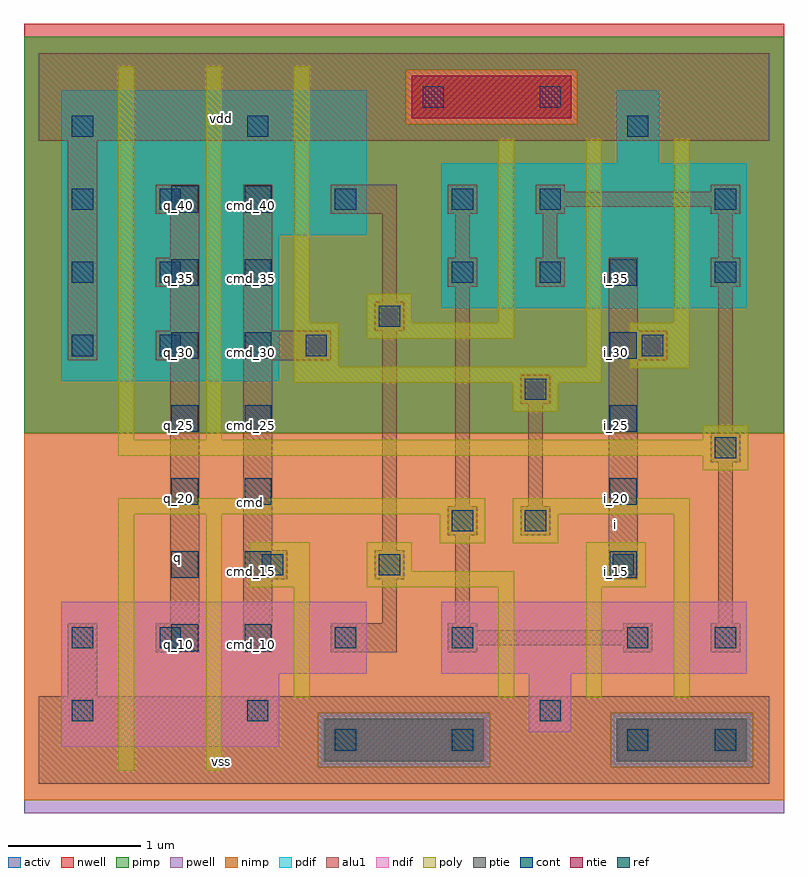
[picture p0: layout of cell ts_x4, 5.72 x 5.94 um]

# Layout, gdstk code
import gdstk
lib = gdstk.Library(unit=1e-6, precision=2.5e-09)
def R(c, l, rs):  # rectangles x0, y0, x1, y1
    for r in rs: c.add(gdstk.rectangle(r[:2], r[2:], *l))
def A(c, l, x, y, w, h, nx, ny, dx, dy):  # array of equal rectangles
    R(c, l, [(x+i*dx, y+j*dy, x+i*dx+w, y+j*dy+h) for i in range(nx) for j in range(ny)])
ndif = (3, 0)
pdif = (4, 0)
ntie = (5, 0)
ptie = (6, 0)
ref = (24, 0)
cont = (25, 0)
pwell = (41, 0)
nwell = (42, 0)
activ = (43, 0)
pimp = (44, 0)
nimp = (45, 0)
poly = (46, 0)
alu1 = (49, 0)

ts_x4 = lib.new_cell('ts_x4')
R(ts_x4, ndif, [(0.17,0.28,1.81,0.83), (0.17,0.28,1.81,0.83), (3.69,0.39,4.01,0.83), (3.69,0.39,4.01,0.83), (0.17,0.83,2.47,1.37), (0.17,0.83,2.47,1.37), (3.03,0.83,5.33,1.37), (3.03,0.83,5.33,1.37)])
R(ts_x4, pdif, [(0.17,3.03,1.81,4.13), (0.17,3.03,1.81,4.13), (3.03,3.58,5.33,4.67), (3.03,3.58,5.33,4.67), (0.17,4.13,2.47,5.22), (0.17,4.13,2.47,5.22), (4.35,4.67,4.67,5.22), (4.35,4.67,4.67,5.22)])
R(ts_x4, ntie, [(2.81,5.01,4.01,5.33), (2.81,5.01,4.01,5.33)])
R(ts_x4, ptie, [(2.15,0.17,3.35,0.49), (2.15,0.17,3.35,0.49), (4.35,0.17,5.33,0.49), (4.35,0.17,5.33,0.49)])
A(ts_x4, ref, 1, 1, 0.2, 0.2, 1, 7, 0, 0.55)
A(ts_x4, ref, 1.55, 1, 0.2, 0.2, 1, 7, 0, 0.55)
A(ts_x4, ref, 4.3, 1.55, 0.2, 0.2, 1, 5, 0, 0.55)
A(ts_x4, cont, 0.25, 3.22, 0.16, 0.16, 1, 4, 0, 0.55)
A(ts_x4, cont, 0.91, 3.22, 0.16, 0.16, 1, 3, 0, 0.55)
R(ts_x4, cont, [(2.23,0.25,2.39,0.41), (3.11,0.25,3.27,0.41), (4.43,0.25,4.59,0.41), (5.09,0.25,5.25,0.41), (0.25,0.47,0.41,0.63), (1.57,0.47,1.73,0.63), (3.77,0.47,3.93,0.63), (0.25,1.02,0.41,1.18), (0.91,1.02,1.07,1.18), (2.23,1.02,2.39,1.18), (3.11,1.02,3.27,1.18), (4.43,1.02,4.59,1.18), (5.09,1.02,5.25,1.18), (1.68,1.57,1.84,1.73), (2.56,1.57,2.72,1.73), (4.32,1.57,4.48,1.73), (3.11,1.9,3.27,2.06), (3.66,1.9,3.82,2.06), (5.09,2.45,5.25,2.61), (3.66,2.89,3.82,3.05), (2.01,3.22,2.17,3.38), (4.54,3.22,4.7,3.38), (2.56,3.44,2.72,3.6), (3.11,3.77,3.27,3.93), (3.77,3.77,3.93,3.93), (5.09,3.77,5.25,3.93), (2.23,4.32,2.39,4.48), (3.11,4.32,3.27,4.48), (3.77,4.32,3.93,4.48), (5.09,4.32,5.25,4.48), (1.57,4.87,1.73,5.03), (4.43,4.87,4.59,5.03), (2.89,5.09,3.05,5.25), (3.77,5.09,3.93,5.25)])
R(ts_x4, pwell, [(-0.11,-0.22,5.61,2.64)])
R(ts_x4, nwell, [(-0.11,2.64,5.61,5.72)])
R(ts_x4, activ, [(2.15,0.17,3.35,0.49), (2.15,0.17,3.35,0.49), (4.35,0.17,5.33,0.49), (4.35,0.17,5.33,0.49), (0.17,0.28,1.81,0.83), (0.17,0.28,1.81,0.83), (3.69,0.39,4.01,0.83), (3.69,0.39,4.01,0.83), (0.17,0.83,2.47,1.37), (0.17,0.83,2.47,1.37), (3.03,0.83,5.33,1.37), (3.03,0.83,5.33,1.37), (0.17,3.03,1.81,4.13), (0.17,3.03,1.81,4.13), (3.03,3.58,5.33,4.67), (3.03,3.58,5.33,4.67), (0.17,4.13,2.47,5.22), (0.17,4.13,2.47,5.22), (4.35,4.67,4.67,5.22), (4.35,4.67,4.67,5.22), (2.81,5.01,4.01,5.33), (2.81,5.01,4.01,5.33)])
R(ts_x4, pimp, [(2.105,0.125,3.395,0.535), (4.305,0.125,5.375,0.535), (-0.11,2.64,5.61,4.965), (-0.11,4.965,2.765,5.375), (4.055,4.965,5.61,5.375), (-0.11,5.375,5.61,5.625)])
R(ts_x4, nimp, [(-0.11,-0.125,5.61,0.125), (-0.11,0.125,2.105,0.535), (3.395,0.125,4.305,0.535), (5.375,0.125,5.61,0.535), (-0.11,0.535,5.61,2.64), (2.765,4.965,4.055,5.375)])
R(ts_x4, poly, [(0.6,0.1,0.72,2.03), (1.26,0.1,1.38,2.03), (1.92,0.65,2.04,1.48), (3.46,0.65,3.58,1.48), (4.12,0.65,4.24,1.48), (4.78,0.65,4.9,2.03), (1.59,1.48,2.04,1.82), (2.47,1.48,3.58,1.6), (4.12,1.48,4.57,1.82), (2.47,1.6,2.81,1.82), (3.02,1.81,3.36,2.03), (3.57,1.81,3.91,2.03), (0.6,2.03,3.36,2.15), (3.57,2.03,4.9,2.15), (5,2.36,5.34,2.47), (0.6,2.47,5.34,2.59), (0.6,2.59,0.72,5.4), (1.26,2.59,1.38,5.4), (5,2.59,5.34,2.7), (3.57,2.8,3.91,3.02), (1.92,3.02,4.24,3.14), (4.45,3.13,4.9,3.47), (1.92,3.14,2.26,3.47), (4.12,3.14,4.24,4.85), (2.47,3.35,3.58,3.47), (1.92,3.47,2.04,5.4), (2.47,3.47,2.81,3.69), (3.46,3.47,3.58,4.85), (4.78,3.47,4.9,4.85)])
A(ts_x4, alu1, 0.88, 3.19, 0.33, 0.22, 1, 3, 0, 0.55)
R(ts_x4, alu1, [(0,0,5.5,0.66), (0.22,0.66,0.44,1.21), (0.88,0.99,1.21,1.21), (1.54,0.99,1.76,1.54), (2.2,0.99,2.695,1.21), (3.08,0.99,3.3,1.045), (4.4,0.99,4.62,1.045), (5.06,0.99,5.28,1.21), (3.08,1.045,4.62,1.155), (3.08,1.155,3.3,1.21), (4.4,1.155,4.62,1.21), (0.99,1.21,1.21,3.19), (2.585,1.21,2.695,1.54), (3.135,1.21,3.245,1.87), (5.115,1.21,5.225,2.42), (1.54,1.54,1.87,1.76), (2.53,1.54,2.75,1.76), (4.29,1.54,4.51,3.19), (1.54,1.76,1.76,3.19), (2.585,1.76,2.695,3.41), (3.08,1.87,3.3,2.09), (3.63,1.87,3.85,2.09), (3.135,2.09,3.245,3.74), (3.685,2.09,3.795,2.86), (5.06,2.42,5.28,2.64), (5.115,2.64,5.225,3.74), (3.63,2.86,3.85,3.08), (0.22,3.19,0.44,4.84), (1.54,3.19,2.2,3.41), (4.29,3.19,4.73,3.41), (0.99,3.41,1.21,3.74), (1.54,3.41,1.76,4.51), (2.53,3.41,2.75,3.63), (4.29,3.41,4.51,3.96), (2.585,3.63,2.695,4.29), (3.08,3.74,3.3,3.96), (3.74,3.74,3.96,3.96), (5.06,3.74,5.28,3.96), (0.99,3.96,1.21,4.29), (3.135,3.96,3.245,4.29), (3.795,3.96,3.905,4.29), (5.115,3.96,5.225,4.29), (2.2,4.29,2.695,4.51), (3.08,4.29,3.3,4.51), (3.74,4.29,3.96,4.345), (5.06,4.29,5.28,4.345), (3.74,4.345,5.28,4.455), (3.74,4.455,3.96,4.51), (5.06,4.455,5.28,4.51), (0,4.84,5.5,5.5)])
ts_x4.add(gdstk.Label('vss', (1.375,0.165), layer=49, texttype=0))
ts_x4.add(gdstk.Label('i', (4.345,1.9525), layer=49, texttype=0))
ts_x4.add(gdstk.Label('cmd', (1.595,2.1175), layer=49, texttype=0))
ts_x4.add(gdstk.Label('q', (1.045,1.705), layer=49, texttype=0))
ts_x4.add(gdstk.Label('vdd', (1.375,5.005), layer=49, texttype=0))
ts_x4.add(gdstk.Label('cmd_25', (1.6,2.7), layer=24, texttype=0))
ts_x4.add(gdstk.Label('cmd_20', (1.6,2.15), layer=24, texttype=0))
ts_x4.add(gdstk.Label('cmd_15', (1.6,1.6), layer=24, texttype=0))
ts_x4.add(gdstk.Label('cmd_40', (1.6,4.35), layer=24, texttype=0))
ts_x4.add(gdstk.Label('cmd_35', (1.6,3.8), layer=24, texttype=0))
ts_x4.add(gdstk.Label('cmd_30', (1.6,3.25), layer=24, texttype=0))
ts_x4.add(gdstk.Label('cmd_10', (1.6,1.05), layer=24, texttype=0))
ts_x4.add(gdstk.Label('i_15', (4.35,1.6), layer=24, texttype=0))
ts_x4.add(gdstk.Label('i_35', (4.35,3.8), layer=24, texttype=0))
ts_x4.add(gdstk.Label('i_30', (4.35,3.25), layer=24, texttype=0))
ts_x4.add(gdstk.Label('i_25', (4.35,2.7), layer=24, texttype=0))
ts_x4.add(gdstk.Label('i_20', (4.35,2.15), layer=24, texttype=0))
ts_x4.add(gdstk.Label('q_40', (1.05,4.35), layer=24, texttype=0))
ts_x4.add(gdstk.Label('q_35', (1.05,3.8), layer=24, texttype=0))
ts_x4.add(gdstk.Label('q_30', (1.05,3.25), layer=24, texttype=0))
ts_x4.add(gdstk.Label('q_25', (1.05,2.7), layer=24, texttype=0))
ts_x4.add(gdstk.Label('q_20', (1.05,2.15), layer=24, texttype=0))
ts_x4.add(gdstk.Label('q_15', (1.05,1.6), layer=24, texttype=0))
ts_x4.add(gdstk.Label('q_10', (1.05,1.05), layer=24, texttype=0))

lib.write_gds('ts_x4.gds')
